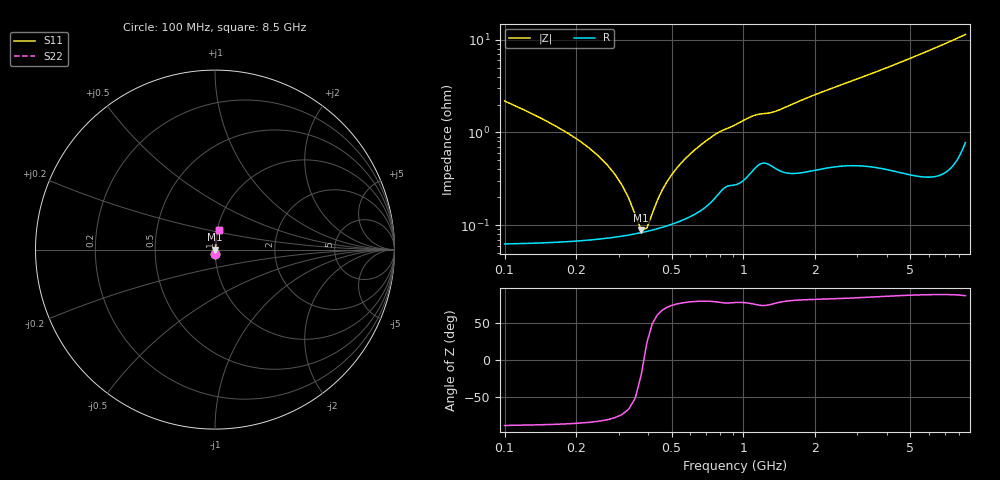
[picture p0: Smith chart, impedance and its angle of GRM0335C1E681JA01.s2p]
!Murata Part Number: GRM0335C1E681JA01
!These Parameters are Measured in Series Mode Connection
!Data Generated on Mar 30, 2021
!  o--ll--o
!Port1  Port2
!  o------o
!Operation Temp=25[degC], DC Bias Voltage=0[V]
!Freq. Start=100[MHz] Stop=9[GHz] 401[Steps]
# Hz S RI R 50
!Freq.(Hz) S11(Real) S11(Imag) S21(Real) S21(Imag) S12(Real) S12(Imag) S22(Real) S22(Imag)
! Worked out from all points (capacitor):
!   401 points, 100 MHz to 8.5 GHz, reference 50 ohm
!   read as one part in series: C = 680 pF near 142 MHz
!   lowest |Z| = 88.9 mohm at 373 MHz (marker M1)
!   series resonance near 382.9 MHz, so ESL is about 250 pH
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1e8  0.0011 -0.0218  0.9989 0.0218  0.9989 0.0218  0.0011 -0.0218
1.42e8  0.000844 -0.0142  0.9992 0.0142  0.9992 0.0142  0.000844 -0.0142
2.47e8  0.000736 -0.00553  0.9993 0.00553  0.9993 0.00553  0.000736 -0.00553
2.89e8  0.000753 -0.00348  0.9992 0.00348  0.9992 0.00348  0.000753 -0.00348
3.52e8  0.000806 -0.00103  0.9992 0.00103  0.9992 0.00103  0.000806 -0.00103
3.73e8  0.00083 -0.000316  0.9992 0.000316  0.9992 0.000316  0.00083 -0.000316
3.94e8  0.000856 0.000355  0.9991 -0.000355  0.9991 -0.000355  0.000856 0.000355
4.15e8  0.000885 0.000993  0.9991 -0.000993  0.9991 -0.000993  0.000885 0.000993
4.78e8  0.000988 0.00275  0.999 -0.00275  0.999 -0.00275  0.000988 0.00275
5.41e8  0.00112 0.00435  0.9989 -0.00435  0.9989 -0.00435  0.00112 0.00435
6.25e8  0.00135 0.00632  0.9987 -0.00632  0.9987 -0.00632  0.00135 0.00632
7.3e8  0.00182 0.00863  0.9982 -0.00863  0.9982 -0.00863  0.00182 0.00863
8.14e8  0.0025 0.0101  0.9975 -0.0101  0.9975 -0.0101  0.0025 0.0101
1.087e9  0.00398 0.0144  0.996 -0.0144  0.996 -0.0144  0.00398 0.0144
1.339e9  0.00443 0.016  0.9956 -0.016  0.9956 -0.016  0.00443 0.016
1.507e9  0.00398 0.0183  0.996 -0.0183  0.996 -0.0183  0.00398 0.0183
2.074e9  0.00465 0.026  0.9953 -0.026  0.9953 -0.026  0.00465 0.026
2.914e9  0.00567 0.0361  0.9943 -0.0361  0.9943 -0.0361  0.00567 0.0361
4.3e9  0.00664 0.0532  0.9934 -0.0532  0.9934 -0.0532  0.00664 0.0532
5.707e9  0.00847 0.0716  0.9915 -0.0716  0.9915 -0.0716  0.00847 0.0716
7.114e9  0.0121 0.0909  0.9879 -0.0909  0.9879 -0.0909  0.0121 0.0909
8.5e9  0.0202 0.1104  0.9798 -0.1104  0.9798 -0.1104  0.0202 0.1104
